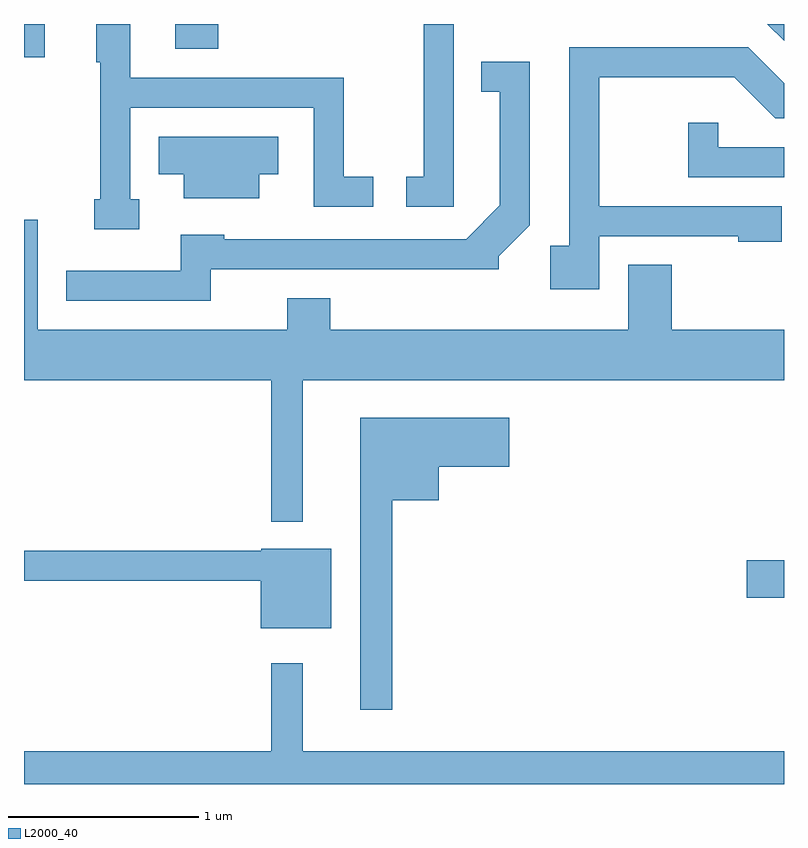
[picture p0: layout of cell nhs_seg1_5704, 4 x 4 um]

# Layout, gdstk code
import gdstk
lib = gdstk.Library(unit=1e-6, precision=1e-09)
def R(c, l, rs):  # rectangles x0, y0, x1, y1
    for r in rs: c.add(gdstk.rectangle(r[:2], r[2:], *l))
def P(c, l, *ps):  # polygons
    for p in ps: c.add(gdstk.Polygon(p, *l))
L2000_40 = (2000, 40)

nhs_seg1_5704 = lib.new_cell('nhs_seg1_5704')
R(nhs_seg1_5704, L2000_40, [(361.416,860.691,361.611,860.889), (357.611,863.536,357.719,863.712), (358.406,863.581,358.634,863.712)])
P(nhs_seg1_5704, L2000_40, [(358.218,862.789),(358.169,862.789),(358.169,863.271),(359.136,863.271),(359.136,862.751),(359.448,862.751),(359.448,862.909),(359.294,862.909),(359.294,863.429),(358.169,863.429),(358.169,863.712),(357.991,863.712),(357.991,863.511),(358.011,863.511),(358.011,862.789),(357.981,862.789),(357.981,862.631),(358.218,862.631)],
  [(361.611,863.712),(361.523,863.712),(361.611,863.624)],
  [(359.874,863.712),(359.716,863.712),(359.716,862.909),(359.623,862.909),(359.623,862.751),(359.874,862.751)],
  [(360.639,862.596),(361.371,862.596),(361.371,862.566),(361.599,862.566),(361.599,862.754),(360.639,862.754),(360.639,863.431),(361.349,863.431),(361.564,863.216),(361.611,863.216),(361.611,863.4),(361.422,863.589),(360.481,863.589),(360.481,862.544),(360.381,862.544),(360.381,862.316),(360.639,862.316)],
  [(358.594,862.421),(360.109,862.421),(360.109,862.489),(360.274,862.654),(360.274,863.514),(360.018,863.514),(360.018,863.356),(360.116,863.356),(360.116,862.757),(359.939,862.579),(358.664,862.579),(358.664,862.604),(358.436,862.604),(358.436,862.414),(357.833,862.414),(357.833,862.256),(358.594,862.256)],
  [(361.611,863.064),(361.264,863.064),(361.264,863.193),(361.106,863.193),(361.106,862.906),(361.611,862.906)],
  [(358.849,862.921),(358.949,862.921),(358.949,863.119),(358.321,863.119),(358.321,862.921),(358.451,862.921),(358.451,862.796),(358.849,862.796)],
  [(359.079,861.836),(361.611,861.836),(361.611,862.104),(361.019,862.104),(361.019,862.444),(360.791,862.444),(360.791,862.104),(359.224,862.104),(359.224,862.269),(358.996,862.269),(358.996,862.104),(357.684,862.104),(357.684,862.683),(357.611,862.683),(357.611,861.836),(358.911,861.836),(358.911,861.093),(359.079,861.093)],
  [(359.549,861.206),(359.794,861.206),(359.794,861.381),(360.164,861.381),(360.164,861.639),(359.381,861.639),(359.381,860.103),(359.549,860.103)],
  [(359.229,860.949),(358.86,860.949),(358.86,860.939),(357.611,860.939),(357.611,860.781),(358.856,860.781),(358.856,860.531),(359.229,860.531)],
  [(361.611,859.884),(359.079,859.884),(359.079,860.348),(358.911,860.348),(358.911,859.884),(357.611,859.884),(357.611,859.712),(361.611,859.712)])

lib.write_gds('nhs_seg1_5704.gds')
